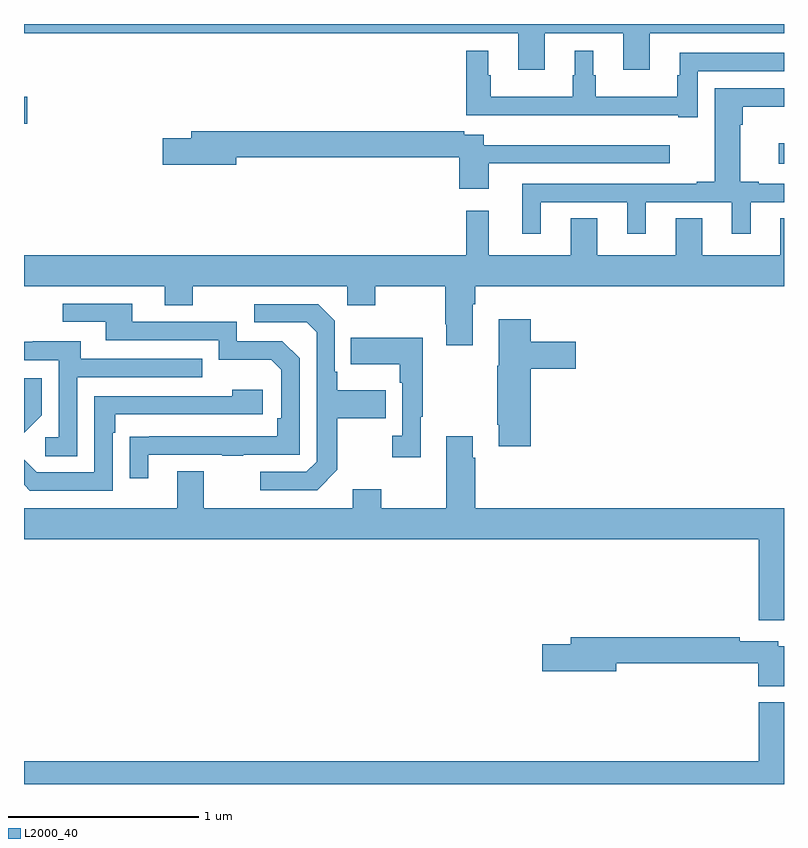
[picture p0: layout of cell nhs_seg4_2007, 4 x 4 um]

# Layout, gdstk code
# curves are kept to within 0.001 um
import gdstk
lib = gdstk.Library(unit=1e-6, precision=1e-09)
def R(c, l, rs):  # rectangles x0, y0, x1, y1
    for r in rs: c.add(gdstk.rectangle(r[:2], r[2:], *l))
def P(c, l, *ps):  # polygons
    for p in ps: c.add(gdstk.Polygon(p, *l))
L2000_40 = (2000, 40)

nhs_seg4_2007 = lib.new_cell('nhs_seg4_2007')
R(nhs_seg4_2007, L2000_40, [(218.973,764.165,219,764.272), (215,764.375,215.017,764.517)])
P(nhs_seg4_2007, L2000_40, [(217.741,764.852),(218.153,764.852),(218.153,764.658),(218.293,764.658),(218.293,764.852),(219,764.852),(219,764.9),(215,764.9),(215,764.852),(217.601,764.852),(217.601,764.658),(217.741,764.658)],
  [(218.547,764.652),(219,764.652),(219,764.748),(218.45,764.748),(218.45,764.63),(218.439,764.63),(218.439,764.518),(218.008,764.518),(218.008,764.63),(217.996,764.63),(217.996,764.758),(217.898,764.758),(217.898,764.63),(217.887,764.63),(217.887,764.518),(217.456,764.518),(217.456,764.63),(217.444,764.63),(217.444,764.758),(217.327,764.758),(217.327,764.421),(217.45,764.421),(217.45,764.42),(218.444,764.42),(218.444,764.409),(218.547,764.409)],
  [(217.72,763.962),(218.174,763.962),(218.174,763.797),(218.272,763.797),(218.272,763.962),(218.726,763.962),(218.726,763.797),(218.824,763.797),(218.824,763.962),(219,763.962),(219,764.058),(218.866,764.058),(218.866,764.071),(218.77,764.071),(218.77,764.369),(218.783,764.369),(218.783,764.465),(219,764.465),(219,764.562),(218.636,764.562),(218.636,764.071),(218.54,764.071),(218.54,764.058),(217.622,764.058),(217.622,763.797),(217.72,763.797)],
  [(217.447,764.166),(218.398,764.166),(218.398,764.263),(217.42,764.263),(217.42,764.316),(217.316,764.316),(217.316,764.336),(215.879,764.336),(215.879,764.3),(215.73,764.3),(215.73,764.158),(216.118,764.158),(216.118,764.2),(217.292,764.2),(217.292,764.034),(217.447,764.034)],
  [(219,763.877),(218.981,763.877),(218.981,763.684),(218.569,763.684),(218.569,763.877),(218.429,763.877),(218.429,763.684),(218.017,763.684),(218.017,763.877),(217.877,763.877),(217.877,763.684),(217.445,763.684),(217.445,763.918),(217.327,763.918),(217.327,763.684),(215,763.684),(215,763.52),(215.741,763.52),(215.741,763.421),(215.889,763.421),(215.889,763.52),(216.702,763.52),(216.702,763.421),(216.849,763.421),(216.849,763.52),(217.216,763.52),(217.216,763.321),(217.223,763.321),(217.223,763.209),(217.363,763.209),(217.363,763.424),(217.376,763.424),(217.376,763.52),(219,763.52)],
  [(215.653,762.633),(216.043,762.633),(216.043,762.628),(216.155,762.628),(216.155,762.633),(216.45,762.633),(216.45,763.14),(216.36,763.23),(216.12,763.23),(216.12,763.332),(215.569,763.332),(215.569,763.428),(215.205,763.428),(215.205,763.332),(215.429,763.332),(215.429,763.236),(216.024,763.236),(216.024,763.133),(216.301,763.133),(216.354,763.08),(216.354,762.826),(216.334,762.826),(216.334,762.729),(215.557,762.728),(215.557,762.51),(215.653,762.51)],
  [(216.649,762.553),(216.649,762.826),(216.905,762.826),(216.905,762.973),(216.649,762.973),(216.649,763.069),(216.636,763.069),(216.636,763.338),(216.549,763.425),(216.213,763.425),(216.213,763.329),(216.489,763.329),(216.54,763.278),(216.54,762.597),(216.486,762.543),(216.243,762.543),(216.243,762.447),(216.543,762.447)],
  [(217.667,763.085),(217.903,763.085),(217.903,763.227),(217.667,763.227),(217.667,763.345),(217.499,763.345),(217.499,763.101),(217.492,763.101),(217.492,762.79),(217.499,762.79),(217.499,762.678),(217.667,762.678)],
  [(217.087,762.833),(217.099,762.833),(217.099,763.249),(216.721,763.249),(216.721,763.109),(216.978,763.109),(216.978,763.013),(216.99,763.013),(216.99,762.734),(216.939,762.734),(216.939,762.621),(217.087,762.621)],
  [(215.28,763.041),(215.939,763.041),(215.939,763.137),(215.299,763.137),(215.299,763.231),(215.045,763.231),(215.045,763.227),(215,763.227),(215,763.131),(215.184,763.131),(215.184,762.726),(215.112,762.726),(215.112,762.625),(215.28,762.625)],
  [(215.094,762.842),(215.094,763.036),(215,763.036),(215,762.748)],
  [(215.466,762.749),(215.479,762.749),(215.479,762.846),(216.256,762.846),(216.256,762.976),(216.095,762.976),(216.095,762.942),(215.37,762.942),(215.37,762.54),(215.067,762.54),(215,762.607),(215,762.475),(215.031,762.444),(215.466,762.444)],
  [(219,762.352),(217.376,762.352),(217.376,762.617),(217.363,762.617),(217.363,762.73),(217.223,762.73),(217.223,762.352),(216.879,762.352),(216.879,762.451),(216.731,762.451),(216.731,762.352),(215.947,762.352),(215.947,762.547),(215.807,762.547),(215.807,762.352),(215,762.352),(215,762.188),(218.867,762.188),(218.867,761.763),(219,761.763)],
  [(219,761.626),(218.97,761.626),(218.97,761.652),(218.768,761.652),(218.768,761.672),(217.877,761.672),(217.877,761.636),(217.728,761.636),(217.728,761.494),(218.116,761.494),(218.116,761.536),(218.864,761.536),(218.864,761.414),(219,761.414)],
  [(219,761.329),(218.867,761.329),(218.867,761.02),(215,761.02),(215,760.9),(219,760.9)])

lib.write_gds('nhs_seg4_2007.gds')
